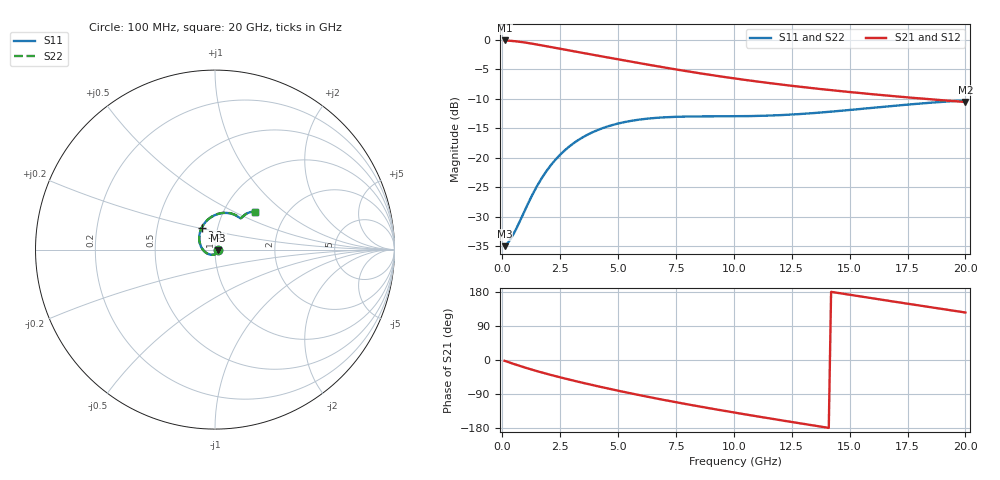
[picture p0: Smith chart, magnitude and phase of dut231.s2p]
! Touchstone file exported from HFSS 2024.1.0
!  File:  C:/UserFiles/LocalFiles/RDL_TSV_Batchsim/temp_RDL_TSV_231_1779451687.aedt
!  Generated:  08:21:32 PM May 22, 2026
!  Design:  RDL_TSV
!  Project:  temp_RDL_TSV_231_1779451687
!  Setup:  Setup1
!  Solution:  Sweep
! Variables:
!  dtsv = 14.24um
!  hbump = 3um
!  htsv = 90.05um
!  ldown = 465.87um
!  lrdl = 411.29um
!  p = 40
!  p1 = 43.73um
!  rhole = 10um
!  subl = 3042.77um
!  t = 450um
!  tdown = 3.41um
!  trdl = 3.02um
!  viad = 10um
!  wdown = 19.98um
!  wrdl = 19.31um
!  xbump = 18um
# GHz S MA R 50.000000
! Terminal data exported
! Port[1] = TM1_1_T1
! Port[2] = TM1_4_T1
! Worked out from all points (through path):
!   200 points, 100 MHz to 20 GHz, reference 50 ohm
!   highest |S21| = -0.16 dB at 100 MHz (marker M1); lowest = -10.6 dB at 20 GHz (marker M2)
!   group delay of S21, straight-line fit = 30.8 ps
!   lowest |S11| = -35.0 dB at 100 MHz (marker M3), VSWR 1.04, Z = 51.8 - j0.437 ohm
!   |S11| at or under -10 dB: start of sweep to end of sweep
!   |S22| runs from -35.0 to -10.3 dB; largest |S21 - S12| = 1.5e-14
!   S11 on the Smith chart (normalised r, x): 100 MHz: 1.04, -0.01; 3.3 GHz: 0.84, +0.21; 20 GHz: 1.39, +0.65
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0.1  0.01776 -13.7  0.9818 -2.2  0.9818 -2.2  0.01776 -13.7
! Gamma 0 0 0 0
! Port Impedance 50 0 50 0
0.3  0.01967 -42.7  0.977 -6.4  0.977 -6.4  0.01966 -42.7
0.5  0.02281 -71.2  0.9694 -10.5  0.9694 -10.5  0.0228 -71.2
1.1  0.04031 -137.6  0.9352 -22.2  0.9352 -22.2  0.04034 -137.7
1.6  0.06201 -173.1  0.8996 -31.1  0.8996 -31.1  0.06214 -173.2
2  0.08139 166.2  0.8702 -37.8  0.8702 -37.8  0.08161 166.1
2.4  0.101 149.7  0.8414 -44.2  0.8414 -44.2  0.1013 149.6
2.8  0.1198 136.1  0.8138 -50.3  0.8138 -50.3  0.1203 136.0
3.3  0.1415 121.9  0.7808 -57.7  0.7808 -57.7  0.142 121.8
3.5  0.1494 117.0  0.7681 -60.6  0.7681 -60.6  0.15 116.9
4.2  0.1736 102.1  0.7253 -70.3  0.7253 -70.3  0.1743 102.0
5  0.1942 88.7  0.6795 -81.0  0.6795 -81.0  0.1951 88.6
5.9  0.2095 77.0  0.6319 -92.4  0.6319 -92.4  0.2104 76.9
6.8  0.218 68.1  0.5885 -103.3  0.5885 -103.3  0.2191 68.0
8.4  0.2231 57.7  0.5223 -121.4  0.5223 -121.4  0.2242 57.6
10.1  0.2238 52.2  0.4659 -139.5  0.4659 -139.5  0.225 52.2
11.7  0.2274 50.5  0.4235 -155.7  0.4235 -155.7  0.2286 50.4
13.4  0.2378 50.1  0.3871 -172.4  0.3871 -172.4  0.2388 50.0
15  0.253 49.6  0.359 172.2  0.359 172.2  0.2539 49.5
16.7  0.272 48.3  0.3339 156.1  0.3339 156.1  0.2729 48.2
18.3  0.2895 46.2  0.3139 141.1  0.3139 141.1  0.2904 46.2
20  0.3052 43.6  0.2956 125.3  0.2956 125.3  0.3062 43.5
